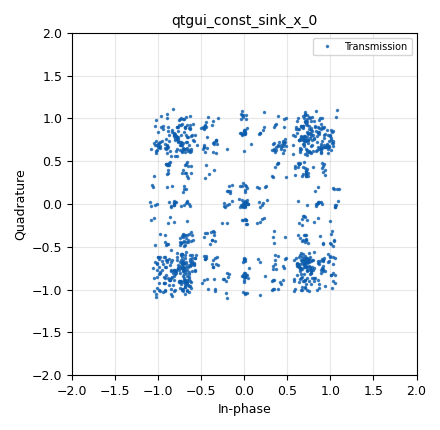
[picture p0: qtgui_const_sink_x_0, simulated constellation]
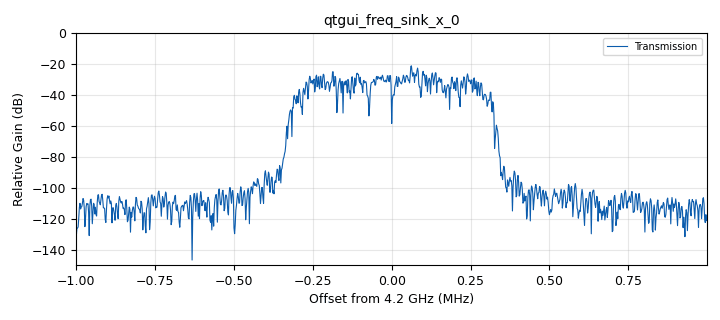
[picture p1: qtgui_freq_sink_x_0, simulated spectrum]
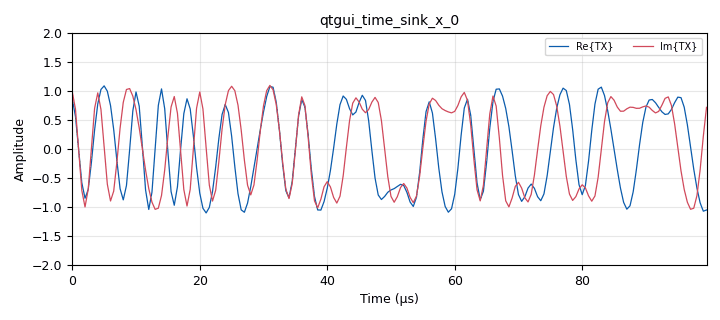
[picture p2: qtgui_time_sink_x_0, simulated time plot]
options:
  parameters:
    author: Micah
    category: Custom
    generate_options: qt_gui
    id: qpsk_hackrf
    output_language: python
    title: qpsk_transmission_hackrf
  states: {}

blocks:
- name: VGA_Gain
  id: variable_qtgui_range
  parameters:
    min_len: '47'
    rangeType: int
    start: '0'
    step: '1'
    stop: '47'
    value: '16'
  states: {}
- name: excess_bw
  id: variable_qtgui_range
  parameters:
    min_len: '47'
    start: '0.0'
    step: '0.05'
    stop: '1.0'
    value: '0.35'
  states: {}
- name: qpsk
  id: variable_constellation_rect
  parameters:
    const_points: '[0.707+0.707j, -0.707+0.707j, -0.707-0.707j, 0.707-0.707j]'
    imag_sect: '2'
    real_sect: '2'
    rot_sym: '4'
    sym_map: '[0, 1, 2, 3]'
    w_imag_sect: '1'
    w_real_sect: '1'
  states: {}
- name: rrc_taps
  id: variable
  parameters:
    value: firdes.root_raised_cosine(1, sps, 1, excess_bw, 45)
  states: {}
- name: samp_rate
  id: variable_qtgui_range
  parameters:
    min_len: '47'
    rangeType: int
    start: '1000000'
    step: '1000000'
    stop: '8000000'
    value: '2000000'
  states: {}
- name: sps
  id: variable
  parameters:
    value: '4'
  states: {}
- name: analog_random_source_x_0
  id: analog_random_source_x
  parameters:
    max: '256'
    min: '0'
    num_samps: '10000'
    repeat: 'True'
    type: byte
  states: {}
- name: blocks_complex_to_interleaved_char_0
  id: blocks_complex_to_interleaved_char
  parameters:
    scale_factor: '128'
    vector_output: 'True'
  states: {}
- name: blocks_float_to_uchar_0
  id: blocks_float_to_uchar
  parameters: {}
  states: {state: disabled}
- name: blocks_wavfile_source_0
  id: blocks_wavfile_source
  parameters:
    file: /home/seed/HackRFStuff/AudioTestFiles/PinkPanther30.wav
    repeat: 'True'
  states: {state: disabled}
- name: digital_constellation_modulator_0
  id: digital_constellation_modulator
  parameters:
    constellation: qpsk
    differential: 'True'
    excess_bw: excess_bw
    samples_per_symbol: sps
  states: {}
- name: fir_filter_xxx_0
  id: fir_filter_xxx
  parameters:
    comment: Removed the throttle block. Check if necessary.
    decim: '1'
    taps: rrc_taps
    type: ccc
  states: {state: disabled}
- name: qtgui_const_sink_x_0
  id: qtgui_const_sink_x
  parameters:
    alpha1: '0.75'
    gui_hint: 0,1,1,1
    label1: Transmission
    name: ''
    size: '1024'
    type: complex
  states: {}
- name: qtgui_freq_sink_x_0
  id: qtgui_freq_sink_x
  parameters:
    alpha1: '0.6'
    bw: samp_rate
    fc: '4200000000'
    fftsize: '1024'
    gui_hint: 1,0,1,2
    label1: Transmission
    name: ''
    showports: 'True'
    type: complex
    width1: '2'
    ymax: '0'
    ymin: '-150'
  states: {}
- name: qtgui_time_sink_x_0
  id: qtgui_time_sink_x
  parameters:
    alpha1: '0.5'
    alpha2: '0.5'
    gui_hint: 0,0,1,1
    label1: Re{TX}
    label2: Im{TX}
    name: ''
    size: '200'
    srate: samp_rate
    type: complex
    ymax: '2'
    ymin: '-2'
  states: {}
- name: soapy_hackrf_sink_0
  id: soapy_hackrf_sink
  parameters:
    bandwidth: '10000000'
    center_freq: '4200000000'
    samp_rate: samp_rate
    type: sc8
    vga: VGA_Gain
  states: {}

connections:
- [analog_random_source_x_0, '0', digital_constellation_modulator_0, '0']
- [blocks_complex_to_interleaved_char_0, '0', soapy_hackrf_sink_0, '0']
- [blocks_float_to_uchar_0, '0', digital_constellation_modulator_0, '0']
- [blocks_wavfile_source_0, '0', blocks_float_to_uchar_0, '0']
- [digital_constellation_modulator_0, '0', blocks_complex_to_interleaved_char_0, '0']
- [digital_constellation_modulator_0, '0', fir_filter_xxx_0, '0']
- [digital_constellation_modulator_0, '0', qtgui_const_sink_x_0, '0']
- [digital_constellation_modulator_0, '0', qtgui_freq_sink_x_0, '0']
- [digital_constellation_modulator_0, '0', qtgui_time_sink_x_0, '0']
- [fir_filter_xxx_0, '0', blocks_complex_to_interleaved_char_0, '0']
- [fir_filter_xxx_0, '0', qtgui_const_sink_x_0, '0']
- [fir_filter_xxx_0, '0', qtgui_freq_sink_x_0, '0']
- [fir_filter_xxx_0, '0', qtgui_time_sink_x_0, '0']

metadata:
  file_format: 1
  grc_version: 3.10.7.0
